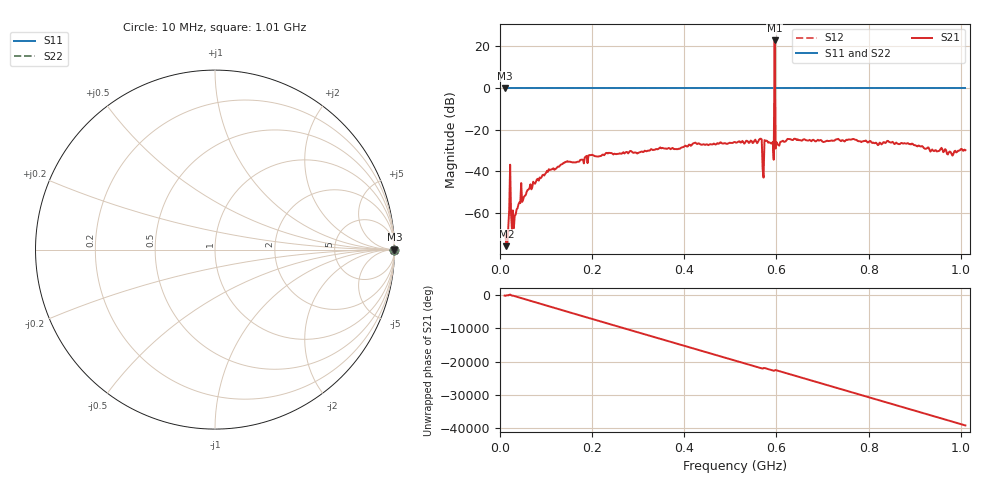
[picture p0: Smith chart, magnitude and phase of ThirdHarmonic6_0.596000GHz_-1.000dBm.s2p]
! 8/15/2025 7:24:50 PM
! C:\ANRITSUVNA\TEMP\TEMP.S2P
! CHANNEL.1
! TR.MEASUREMENT
! RAW.DATA
! RF.CORRECTION.OFF
! AVERAGING.OFF
! IF.BANDWIDTH: 5KHZ
! SWEEPTYPE:  FREQ.SWEEP(Linear)
! Reference Plane Port Info
! PORT:  PORT1  PORT2
! DISTANCE:  0  m  0  m
! TIME:  0  s  0  s
! PHASE.OFFSET:  0  deg.  0  deg.
! LOSS:  0  dB  0  dB
! REF.LOSS:  0  dB  0  dB
! REF.FREQ:  0  Hz  0  Hz
! Power Info
! POWER:  -20  dBm  -20  dBm
! EFF.POWER:  -20  dBm  -20  dBm
! SOURCE.ATTEN:  0  dB  0  dB
! TEST.ATTEN:  0  dB  0  dB
# GHZ S RI R 50.0
! FREQ.GHZ  S11RE  S11IM  S21RE  S21IM  S12RE  S12IM  S22RE  S22IM
!; PortSelection: Port_12
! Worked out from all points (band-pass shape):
!   501 points, 10 MHz to 1.01 GHz, reference 50 ohm
!   highest |S21| = 22.86 dB at 596 MHz (marker M1); lowest = -75.8 dB at 14 MHz (marker M2)
!   |S21| within 3 dB of the highest: 595.8951 MHz to 596.1156 MHz (220.5 kHz wide, 0.037 % of centre)
!   lowest |S11| = 0.0 dB at 10 MHz (marker M3)
!   |S11| at or under -10 dB: nowhere
!   |S22| runs from 0.0 to 0.0 dB; largest |S21 - S12| = 13
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0.01  1 0  -0.000327 -2.69e-05  1 0  1 0
0.014  1 0  -0.0001 -0.000126  1 0  1 0
0.02  1 0  0.0011 0.000512  1 0  1 0
0.024  1 0  0.000666 -0.000679  1 0  1 0
0.03  1 0  4.62e-05 0.000433  1 0  1 0
0.042  1 0  0.00105 -0.00148  1 0  1 0
0.076  1 0  0.00505 -0.000368  1 0  1 0
0.178  1 0  -0.0192 -0.00103  1 0  1 0
0.344  1 0  0.0296 -0.0182  1 0  1 0
0.51  1 0  -0.0229 0.0452  1 0  1 0
0.564  1 0  -0.0126 0.0592  1 0  1 0
0.568  1 0  0.024 -0.0535  1 0  1 0
0.574  1 0  0.0336 0.0456  1 0  1 0
0.578  1 0  -0.0191 -0.0515  1 0  1 0
0.59  1 0  -0.0314 0.0351  1 0  1 0
0.592  1 0  0.0325 0.0398  1 0  1 0
0.596  1 0  11.79 7.354  1 0  1 0
0.6  1 0  0.00614 0.0503  1 0  1 0
0.602  1 0  0.0444 0.00232  1 0  1 0
0.678  1 0  -0.0569 0.000212  1 0  1 0
0.844  1 0  0.0357 -0.0369  1 0  1 0
1.01  1 0  -0.00619 0.0318  1 0  1 0
